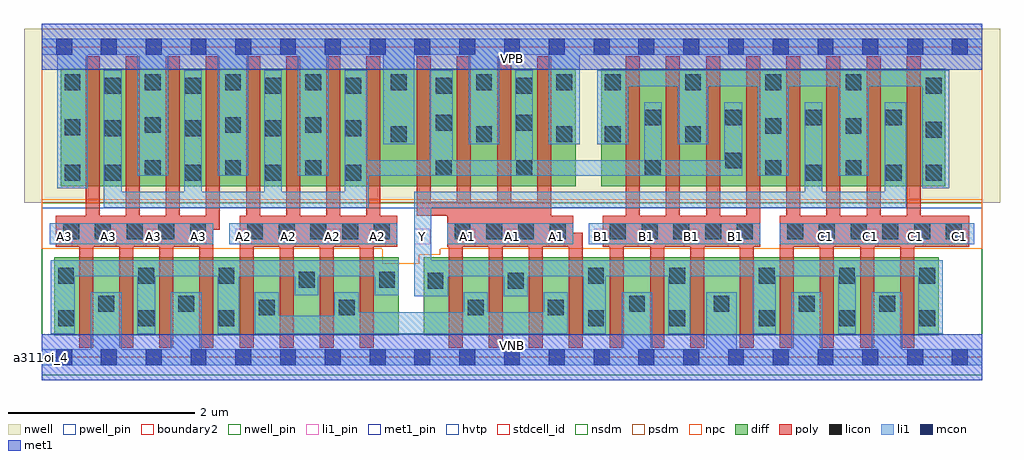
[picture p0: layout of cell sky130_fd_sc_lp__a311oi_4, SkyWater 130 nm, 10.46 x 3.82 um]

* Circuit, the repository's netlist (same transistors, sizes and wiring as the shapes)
* Copyright 2020 The SkyWater PDK Authors
*
* Licensed under the Apache License, Version 2.0 (the "License");
* you may not use this file except in compliance with the License.
* You may obtain a copy of the License at
*
*     https://www.apache.org/licenses/LICENSE-2.0
*
* Unless required by applicable law or agreed to in writing, software
* distributed under the License is distributed on an "AS IS" BASIS,
* WITHOUT WARRANTIES OR CONDITIONS OF ANY KIND, either express or implied.
* See the License for the specific language governing permissions and
* limitations under the License.
*
* SPDX-License-Identifier: Apache-2.0

.SUBCKT sky130_fd_sc_lp__a311oi_4 A1 A2 A3 B1 C1 VGND VNB VPB VPWR Y
*.PININFO A1:I A2:I A3:I B1:I C1:I VGND:I VNB:I VPB:I VPWR:I Y:O
MMPA0 pndA A1 VPWR VPB sky130_fd_pr__pfet_01v8_hvt m=4 w=1.26U l=0.15U mult=1 sa=0.265
+ sb=0.265 sd=0.28 area=0.063 perim=1.14
MMPA1 pndA A2 VPWR VPB sky130_fd_pr__pfet_01v8_hvt m=4 w=1.26U l=0.15U mult=1 sa=0.265
+ sb=0.265 sd=0.28 area=0.063 perim=1.14
MMPA2 pndA A3 VPWR VPB sky130_fd_pr__pfet_01v8_hvt m=4 w=1.26U l=0.15U mult=1 sa=0.265
+ sb=0.265 sd=0.28 area=0.063 perim=1.14
MMPB0 pndB B1 pndA VPB sky130_fd_pr__pfet_01v8_hvt m=4 w=1.26U l=0.15U mult=1 sa=0.265
+ sb=0.265 sd=0.28 area=0.063 perim=1.14
MMPC0 Y C1 pndB VPB sky130_fd_pr__pfet_01v8_hvt m=4 w=1.26U l=0.15U mult=1 sa=0.265
+ sb=0.265 sd=0.28 area=0.063 perim=1.14
MMNA0 Y A1 sndA1 VNB sky130_fd_pr__nfet_01v8 m=4 w=0.84U l=0.15U mult=1 sa=0.265
+ sb=0.265 sd=0.28 area=0.063 perim=1.14
MMNA1 sndA1 A2 sndA2 VNB sky130_fd_pr__nfet_01v8 m=4 w=0.84U l=0.15U mult=1 sa=0.265
+ sb=0.265 sd=0.28 area=0.063 perim=1.14
MMNA2 sndA2 A3 VGND VNB sky130_fd_pr__nfet_01v8 m=4 w=0.84U l=0.15U mult=1 sa=0.265
+ sb=0.265 sd=0.28 area=0.063 perim=1.14
MMNB0 Y B1 VGND VNB sky130_fd_pr__nfet_01v8 m=4 w=0.84U l=0.15U mult=1 sa=0.265
+ sb=0.265 sd=0.28 area=0.063 perim=1.14
MMNC0 Y C1 VGND VNB sky130_fd_pr__nfet_01v8 m=4 w=0.84U l=0.15U mult=1 sa=0.265
+ sb=0.265 sd=0.28 area=0.063 perim=1.14
.ENDS sky130_fd_sc_lp__a311oi_4

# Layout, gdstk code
import gdstk
lib = gdstk.Library(unit=1e-6, precision=1e-09)
def R(c, l, rs):  # rectangles x0, y0, x1, y1
    for r in rs: c.add(gdstk.rectangle(r[:2], r[2:], *l))
def A(c, l, x, y, w, h, nx, ny, dx, dy):  # array of equal rectangles
    R(c, l, [(x+i*dx, y+j*dy, x+i*dx+w, y+j*dy+h) for i in range(nx) for j in range(ny)])
def P(c, l, *ps):  # polygons
    for p in ps: c.add(gdstk.Polygon(p, *l))
nwell_pin = (64, 16)
nwell = (64, 20)
diff = (65, 20)
poly = (66, 20)
licon = (66, 44)
li1_pin = (67, 16)
li1 = (67, 20)
mcon = (67, 44)
met1_pin = (68, 16)
met1 = (68, 20)
hvtp = (78, 44)
stdcell_id = (81, 4)
nsdm = (93, 44)
psdm = (94, 20)
npc = (95, 20)
pwell_pin = (122, 16)
boundary2 = (236, 0)

sky130_fd_sc_lp__a311oi_ = lib.new_cell('sky130_fd_sc_lp__a311oi_4')
R(sky130_fd_sc_lp__a311oi_, nwell_pin, [(0,3.085,10.08,3.33)])
R(sky130_fd_sc_lp__a311oi_, nwell, [(-0.19,1.655,10.27,3.52)])
R(sky130_fd_sc_lp__a311oi_, diff, [(0.135,0.235,3.825,1.075), (4.095,0.235,9.615,1.075), (0.205,1.835,5.725,3.095), (5.995,1.835,9.685,3.095)])
P(sky130_fd_sc_lp__a311oi_, poly, [(1.91,3.225),(1.76,3.225),(1.76,1.515),(1.48,1.515),(1.48,3.225),(1.33,3.225),(1.33,1.515),(1.05,1.515),(1.05,3.225),(0.9,3.225),(0.9,1.515),(0.62,1.515),(0.62,3.225),(0.47,3.225),(0.47,1.515),(0.15,1.515),(0.15,1.185),(0.4,1.185),(0.4,0.105),(0.55,0.105),(0.55,1.185),(0.83,1.185),(0.83,0.105),(0.98,0.105),(0.98,1.185),(1.26,1.185),(1.26,0.105),(1.41,0.105),(1.41,1.185),(1.69,1.185),(1.69,0.105),(1.84,0.105),(1.84,1.365),(1.91,1.365)],
  [(3.81,1.515),(3.63,1.515),(3.63,3.225),(3.48,3.225),(3.48,1.515),(3.2,1.515),(3.2,3.225),(3.05,3.225),(3.05,1.515),(2.77,1.515),(2.77,3.225),(2.62,3.225),(2.62,1.515),(2.34,1.515),(2.34,3.225),(2.19,3.225),(2.19,1.515),(2.12,1.515),(2.12,0.105),(2.27,0.105),(2.27,1.185),(2.55,1.185),(2.55,0.105),(2.7,0.105),(2.7,1.185),(2.98,1.185),(2.98,0.105),(3.13,0.105),(3.13,1.185),(3.41,1.185),(3.41,0.105),(3.56,0.105),(3.56,1.185),(3.81,1.185)],
  [(5.8,1.335),(5.695,1.335),(5.695,1.515),(5.46,1.515),(5.46,3.225),(5.31,3.225),(5.31,1.665),(5.03,1.665),(5.03,3.225),(4.88,3.225),(4.88,1.665),(4.6,1.665),(4.6,3.225),(4.45,3.225),(4.45,1.665),(4.17,1.665),(4.17,3.225),(4.02,3.225),(4.02,1.515),(4.345,1.515),(4.345,1.185),(4.36,1.185),(4.36,0.105),(4.51,0.105),(4.51,1.185),(4.79,1.185),(4.79,0.105),(4.94,0.105),(4.94,1.185),(5.22,1.185),(5.22,0.105),(5.37,0.105),(5.37,1.185),(5.65,1.185),(5.65,0.105),(5.8,0.105)],
  [(7.7,3.225),(7.55,3.225),(7.55,1.515),(7.27,1.515),(7.27,3.225),(7.12,3.225),(7.12,1.515),(6.84,1.515),(6.84,3.225),(6.69,3.225),(6.69,1.515),(6.41,1.515),(6.41,3.225),(6.26,3.225),(6.26,1.515),(6.01,1.515),(6.01,1.185),(6.09,1.185),(6.09,0.105),(6.24,0.105),(6.24,1.185),(6.52,1.185),(6.52,0.105),(6.67,0.105),(6.67,1.185),(6.95,1.185),(6.95,0.105),(7.1,0.105),(7.1,1.185),(7.48,1.185),(7.48,0.105),(7.63,0.105),(7.63,1.185),(7.7,1.185)],
  [(9.94,1.515),(9.42,1.515),(9.42,3.225),(9.27,3.225),(9.27,1.515),(8.99,1.515),(8.99,3.225),(8.84,3.225),(8.84,1.515),(8.56,1.515),(8.56,3.225),(8.41,3.225),(8.41,1.515),(8.13,1.515),(8.13,3.225),(7.98,3.225),(7.98,1.515),(7.91,1.515),(7.91,0.105),(8.06,0.105),(8.06,1.185),(8.34,1.185),(8.34,0.105),(8.49,0.105),(8.49,1.185),(8.77,1.185),(8.77,0.105),(8.92,0.105),(8.92,1.185),(9.2,1.185),(9.2,0.105),(9.35,0.105),(9.35,1.185),(9.94,1.185)])
A(sky130_fd_sc_lp__a311oi_, licon, 0.175, 0.335, 0.17, 0.17, 3, 2, 0.86, 0.455)
A(sky130_fd_sc_lp__a311oi_, licon, 7.685, 0.335, 0.17, 0.17, 3, 2, 0.86, 0.455)
A(sky130_fd_sc_lp__a311oi_, licon, 0.23, 1.265, 0.17, 0.17, 5, 1, 0.34, 0)
A(sky130_fd_sc_lp__a311oi_, licon, 2.2, 1.265, 0.17, 0.17, 5, 1, 0.34, 0)
A(sky130_fd_sc_lp__a311oi_, licon, 4.425, 1.265, 0.17, 0.17, 4, 1, 0.34, 0)
A(sky130_fd_sc_lp__a311oi_, licon, 6.09, 1.265, 0.17, 0.17, 5, 1, 0.34, 0)
A(sky130_fd_sc_lp__a311oi_, licon, 7.99, 1.265, 0.17, 0.17, 6, 1, 0.34, 0)
A(sky130_fd_sc_lp__a311oi_, licon, 0.675, 1.895, 0.17, 0.17, 4, 2, 0.86, 0.475)
A(sky130_fd_sc_lp__a311oi_, licon, 1.105, 1.945, 0.17, 0.17, 3, 2, 0.86, 0.46)
A(sky130_fd_sc_lp__a311oi_, licon, 6.465, 2.485, 0.17, 0.17, 4, 1, 0.86, 0)
A(sky130_fd_sc_lp__a311oi_, licon, 0.675, 2.825, 0.17, 0.17, 4, 1, 0.86, 0)
A(sky130_fd_sc_lp__a311oi_, licon, 0.245, 2.865, 0.17, 0.17, 4, 1, 0.86, 0)
A(sky130_fd_sc_lp__a311oi_, licon, 6.035, 2.865, 0.17, 0.17, 4, 1, 0.86, 0)
R(sky130_fd_sc_lp__a311oi_, licon, [(5.855,0.335,6.025,0.505), (6.725,0.335,6.895,0.505), (2.325,0.45,2.495,0.62), (3.185,0.45,3.355,0.62), (4.565,0.45,4.735,0.62), (5.425,0.45,5.595,0.62), (0.605,0.49,0.775,0.66), (1.465,0.49,1.635,0.66), (6.295,0.49,6.465,0.66), (7.2,0.49,7.37,0.66), (8.115,0.49,8.285,0.66), (8.975,0.49,9.145,0.66), (4.135,0.735,4.305,0.905), (4.995,0.735,5.165,0.905), (2.755,0.745,2.925,0.915), (3.615,0.745,3.785,0.915), (5.855,0.79,6.025,0.96), (6.725,0.79,6.895,0.96), (0.245,1.895,0.415,2.065), (8.185,1.895,8.355,2.065), (9.045,1.895,9.215,2.065), (9.475,1.895,9.645,2.065), (4.225,1.945,4.395,2.115), (5.085,1.945,5.255,2.115), (6.465,1.945,6.635,2.115), (7.755,1.945,7.925,2.115), (8.615,1.945,8.785,2.115), (7.325,2.025,7.495,2.195), (3.74,2.305,3.91,2.475), (4.655,2.305,4.825,2.475), (5.515,2.305,5.685,2.475), (6.035,2.305,6.205,2.475), (6.895,2.305,7.065,2.475), (9.475,2.355,9.645,2.525), (0.245,2.38,0.415,2.55), (7.755,2.395,7.925,2.565), (8.615,2.395,8.785,2.565), (4.225,2.43,4.395,2.6), (5.085,2.43,5.255,2.6), (4.225,2.825,4.395,2.995), (5.085,2.825,5.255,2.995), (9.475,2.825,9.645,2.995), (3.74,2.865,3.91,3.035), (4.655,2.865,4.825,3.035), (5.515,2.865,5.685,3.035)])
A(sky130_fd_sc_lp__a311oi_, li1_pin, 0.155, 1.21, 0.17, 0.17, 16, 1, 0.48, 0)
A(sky130_fd_sc_lp__a311oi_, li1_pin, 8.315, 1.21, 0.17, 0.17, 4, 1, 0.48, 0)
R(sky130_fd_sc_lp__a311oi_, li1, [(0.085,1.21,1.84,1.435), (2.01,1.21,3.81,1.435), (4.345,1.21,5.695,1.435), (5.865,1.21,7.7,1.435), (7.91,1.21,9.995,1.435)])
P(sky130_fd_sc_lp__a311oi_, li1, [(9.725,3.075),(5.955,3.075),(5.955,2.285),(6.285,2.285),(6.285,2.905),(6.815,2.905),(6.815,2.285),(7.145,2.285),(7.145,2.905),(7.675,2.905),(7.675,1.945),(8.005,1.945),(8.005,2.905),(8.535,2.905),(8.535,1.945),(8.865,1.945),(8.865,2.905),(9.435,2.905),(9.435,1.815),(9.725,1.815)],
  [(3.825,1.04),(0.095,1.04),(0.095,0.255),(0.355,0.255),(0.355,0.87),(1.025,0.87),(1.025,0.255),(1.215,0.255),(1.215,0.87),(1.885,0.87),(1.885,0.255),(2.115,0.255),(2.115,0.87),(2.71,0.87),(2.71,0.665),(2.965,0.665),(2.965,0.87),(3.57,0.87),(3.57,0.665),(3.825,0.665)],
  [(5.635,0.7),(5.38,0.7),(5.38,0.485),(4.78,0.485),(4.78,0.7),(4.525,0.7),(4.525,0.485),(3.4,0.485),(3.4,0.7),(3.135,0.7),(3.135,0.445),(2.54,0.445),(2.54,0.7),(2.285,0.7),(2.285,0.255),(5.635,0.255)],
  [(7.505,2.735),(7.315,2.735),(7.315,2.115),(6.645,2.115),(6.645,2.735),(6.455,2.735),(6.455,2.115),(5.265,2.115),(5.265,3.075),(5.075,3.075),(5.075,2.115),(4.405,2.115),(4.405,3.075),(4.16,3.075),(4.16,2.115),(3.49,2.115),(3.49,3.075),(3.245,3.075),(3.245,1.775),(2.575,1.775),(2.575,3.075),(2.385,3.075),(2.385,1.775),(1.715,1.775),(1.715,3.075),(1.525,3.075),(1.525,1.775),(0.855,1.775),(0.855,3.075),(0.665,3.075),(0.665,1.605),(3.505,1.605),(3.505,1.945),(7.505,1.945)],
  [(9.655,1.04),(4.175,1.04),(4.175,1.605),(9.265,1.605),(9.265,2.735),(9.035,2.735),(9.035,1.775),(8.365,1.775),(8.365,2.735),(8.175,2.735),(8.175,1.775),(3.995,1.775),(3.995,0.655),(4.355,0.655),(4.355,0.87),(4.95,0.87),(4.95,0.655),(5.21,0.655),(5.21,0.87),(5.805,0.87),(5.805,0.255),(6.045,0.255),(6.045,0.87),(6.715,0.87),(6.715,0.255),(6.95,0.255),(6.95,0.87),(7.62,0.87),(7.62,0.255),(7.865,0.255),(7.865,0.87),(8.535,0.87),(8.535,0.255),(8.725,0.255),(8.725,0.87),(9.395,0.87),(9.395,0.255),(9.655,0.255)],
  [(10.08,3.415),(0,3.415),(0,3.245),(0.165,3.245),(0.165,1.815),(0.495,1.815),(0.495,3.245),(1.025,3.245),(1.025,1.945),(1.355,1.945),(1.355,3.245),(1.885,3.245),(1.885,1.945),(2.215,1.945),(2.215,3.245),(2.745,3.245),(2.745,1.945),(3.075,1.945),(3.075,3.245),(3.66,3.245),(3.66,2.285),(3.99,2.285),(3.99,3.245),(4.575,3.245),(4.575,2.285),(4.905,2.285),(4.905,3.245),(5.435,3.245),(5.435,2.285),(5.765,2.285),(5.765,3.245),(10.08,3.245)],
  [(10.08,0.085),(9.225,0.085),(9.225,0.7),(8.895,0.7),(8.895,0.085),(8.365,0.085),(8.365,0.7),(8.035,0.7),(8.035,0.085),(7.45,0.085),(7.45,0.7),(7.12,0.7),(7.12,0.085),(6.545,0.085),(6.545,0.7),(6.215,0.7),(6.215,0.085),(1.715,0.085),(1.715,0.7),(1.385,0.7),(1.385,0.085),(0.855,0.085),(0.855,0.7),(0.525,0.7),(0.525,0.085),(0,0.085),(0,-0.085),(10.08,-0.085)])
A(sky130_fd_sc_lp__a311oi_, mcon, 0.155, -0.085, 0.17, 0.17, 21, 2, 0.48, 3.33)
R(sky130_fd_sc_lp__a311oi_, met1_pin, [(0,0,10.08,0.245), (0,3.085,10.08,3.33)])
R(sky130_fd_sc_lp__a311oi_, met1, [(0,-0.245,10.08,0.245), (0,3.085,10.08,3.575)])
R(sky130_fd_sc_lp__a311oi_, hvtp, [(0,1.6,10.08,3.33)])
R(sky130_fd_sc_lp__a311oi_, stdcell_id, [(0,0,10.08,3.33)])
R(sky130_fd_sc_lp__a311oi_, nsdm, [(0,-0.19,10.08,1.655)])
R(sky130_fd_sc_lp__a311oi_, psdm, [(0,1.655,10.08,3.52)])
P(sky130_fd_sc_lp__a311oi_, npc, [(10.08,1.695),(0,1.695),(0,1.165),(3.65,1.165),(3.65,1.005),(4.045,1.005),(4.045,1.1),(4.27,1.1),(4.27,1.165),(10.08,1.165)])
R(sky130_fd_sc_lp__a311oi_, pwell_pin, [(0,0,10.08,0.245)])
R(sky130_fd_sc_lp__a311oi_, boundary2, [(0,0,10.08,3.33)])
sky130_fd_sc_lp__a311oi_.add(gdstk.Label('VNB', (5.04,0.123), layer=64, texttype=59))
sky130_fd_sc_lp__a311oi_.add(gdstk.Label('VPB', (5.04,3.208), layer=64, texttype=5))
sky130_fd_sc_lp__a311oi_.add(gdstk.Label('a311oi_4', (0,0), layer=83, texttype=44))
sky130_fd_sc_lp__a311oi_.add(gdstk.Label('VPWR', (5.04,3.208), layer=68, texttype=5))
sky130_fd_sc_lp__a311oi_.add(gdstk.Label('VGND', (5.04,0.123), layer=68, texttype=5))
sky130_fd_sc_lp__a311oi_.add(gdstk.Label('A1', (4.56,1.295), layer=67, texttype=5))
sky130_fd_sc_lp__a311oi_.add(gdstk.Label('A1', (5.04,1.295), layer=67, texttype=5))
sky130_fd_sc_lp__a311oi_.add(gdstk.Label('A1', (5.52,1.295), layer=67, texttype=5))
sky130_fd_sc_lp__a311oi_.add(gdstk.Label('A2', (2.16,1.295), layer=67, texttype=5))
sky130_fd_sc_lp__a311oi_.add(gdstk.Label('A2', (2.64,1.295), layer=67, texttype=5))
sky130_fd_sc_lp__a311oi_.add(gdstk.Label('A2', (3.12,1.295), layer=67, texttype=5))
sky130_fd_sc_lp__a311oi_.add(gdstk.Label('A2', (3.6,1.295), layer=67, texttype=5))
sky130_fd_sc_lp__a311oi_.add(gdstk.Label('A3', (0.24,1.295), layer=67, texttype=5))
sky130_fd_sc_lp__a311oi_.add(gdstk.Label('A3', (0.72,1.295), layer=67, texttype=5))
sky130_fd_sc_lp__a311oi_.add(gdstk.Label('A3', (1.2,1.295), layer=67, texttype=5))
sky130_fd_sc_lp__a311oi_.add(gdstk.Label('A3', (1.68,1.295), layer=67, texttype=5))
sky130_fd_sc_lp__a311oi_.add(gdstk.Label('B1', (6,1.295), layer=67, texttype=5))
sky130_fd_sc_lp__a311oi_.add(gdstk.Label('B1', (6.48,1.295), layer=67, texttype=5))
sky130_fd_sc_lp__a311oi_.add(gdstk.Label('B1', (6.96,1.295), layer=67, texttype=5))
sky130_fd_sc_lp__a311oi_.add(gdstk.Label('B1', (7.44,1.295), layer=67, texttype=5))
sky130_fd_sc_lp__a311oi_.add(gdstk.Label('C1', (8.4,1.295), layer=67, texttype=5))
sky130_fd_sc_lp__a311oi_.add(gdstk.Label('C1', (8.88,1.295), layer=67, texttype=5))
sky130_fd_sc_lp__a311oi_.add(gdstk.Label('C1', (9.36,1.295), layer=67, texttype=5))
sky130_fd_sc_lp__a311oi_.add(gdstk.Label('C1', (9.84,1.295), layer=67, texttype=5))
sky130_fd_sc_lp__a311oi_.add(gdstk.Label('Y', (4.08,1.295), layer=67, texttype=5))

lib.write_gds('sky130_fd_sc_lp__a311oi_4.gds')
